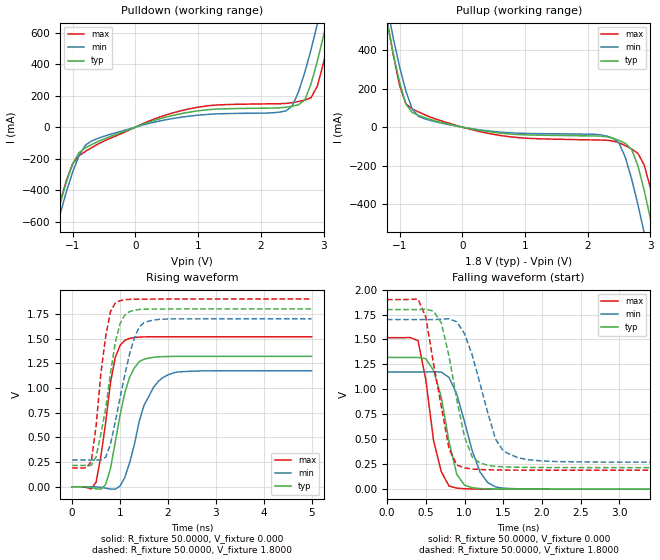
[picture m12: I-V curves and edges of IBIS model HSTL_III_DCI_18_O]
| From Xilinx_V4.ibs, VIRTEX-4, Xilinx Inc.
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|   Model HSTL_III_DCI_18_O
[Model]   HSTL_III_DCI_18_O
Model_type   Output
Polarity   Non-Inverting
Enable   Active-Low
Vmeas =   1.1000V
Cref =  0.000F
Rref =  50.0000
Vref =   1.1000V
C_comp   8.0000pF   8.0000pF   8.0000pF
[Temperature Range]   25.0000   85.0000   0.000
[Voltage Range]   1.8000V   1.7000V   1.9000V
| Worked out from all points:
|   slope of the pulldown table from 0 to 0.27 V, typ, clamps not added: 6.99 ohm
|   slope of the pullup table from 0 to 0.27 V, typ, clamps not added: 16.4 ohm
|   rising waveform, R_fixture 50.0000, V_fixture 0.000: 20-80 % time 336ps typ, 432ps min, 266ps max; typ from 0 V to 1.32 V
|   rising waveform, R_fixture 50.0000, V_fixture 1.8000: 20-80 % time 314ps typ, 386ps min, 238ps max; typ from 0.216 V to 1.8 V
|   falling waveform, R_fixture 50.0000, V_fixture 0.000: 20-80 % time 214ps typ, 265ps min, 189ps max; typ from 1.32 V to 0 V
|   falling waveform, R_fixture 50.0000, V_fixture 1.8000: 20-80 % time 243ps typ, 313ps min, 235ps max; typ from 1.8 V to 0.216 V
[Pulldown]
| voltage   I(typ)   I(min)   I(max)
-1.8V     -1.626A    -1.674A    -1.632A
-1.3V     -642.1mA   -710mA     -637.8mA
-1V       -233.5mA   -284.5mA   -232.1mA
-700mV    -111.1mA   -88.11mA   -130.8mA
800mV     91.06mA    66.89mA    111mA
2.4V      126.8mA    103.1mA    150.6mA
2.5V      133.1mA    134.1mA    155.3mA
2.7V      171.9mA    347.3mA    171.9mA
2.9V      418.2mA    654.1mA    259.6mA
3V        581.2mA    833.6mA    409.5mA
3.1V      758.3mA    1.024A     587mA
3.6V      1.746A     2.026A     1.59A
[Pullup]
| voltage   I(typ)   I(min)   I(max)
-1.8V     1.724A     1.808A     1.78A
-1.2V     548.7mA    630mA      556.7mA
-1.1V     381.6mA    462.4mA    376.2mA
-900mV    120.9mA    188.5mA    121.4mA
-700mV    61.59mA    56.68mA    79.35mA
600mV     -31mA      -25.69mA   -43.04mA
2.4V      -57.52mA   -56.36mA   -72.2mA
2.7V      -115.9mA   -269.5mA   -113.6mA
2.9V      -328.1mA   -549.8mA   -196.5mA
3V        -476.5mA   -711.5mA   -316.9mA
3.2V      -818.8mA   -1.084A    -635.8mA
3.6V      -1.63A     -1.877A    -1.427A
[Ramp]
| variable   typ   min   max
dV/dt_r   0.7920/0.3285n   0.7044/0.4257n   0.9108/0.2325n
dV/dt_f   0.9505/0.2353n   0.8576/0.3197n   1.0258/0.1888n
R_load = 50.0000
[Rising Waveform]
R_fixture = 50.0000
V_fixture = 0.000
| time   V(typ)   V(min)   V(max)
0s        0V         0V         0V
500ps     -20.21mV   -464.3uV   46.32mV
700ps     23.59mV    -14.29mV   649.4mV
800ps     181.7mV    -23.1mV    1.051V
900ps     448.9mV    -24.07mV   1.308V
1.1ns     951mV      95mV       1.482V
1.3ns     1.204V     428.3mV    1.51V
1.5ns     1.292V     822.8mV    1.517V
1.9ns     1.317V     1.107V     1.518V
5ns       1.32V      1.174V     1.518V
[Rising Waveform]
R_fixture = 50.0000
V_fixture = 1.8000
V_fixture_min = 1.7000
V_fixture_max = 1.9000
| time   V(typ)   V(min)   V(max)
0s        215.9mV    270.7mV    190.3mV
400ps     216.4mV    270.7mV    258mV
500ps     303mV      270.5mV    612.8mV
700ps     789.7mV    299.1mV    1.52V
800ps     1.147V     429mV      1.772V
900ps     1.458V     655.3mV    1.858V
1ns       1.649V     898.5mV    1.884V
1.2ns     1.774V     1.346V     1.897V
1.5ns     1.797V     1.661V     1.899V
5ns       1.8V       1.7V       1.9V
[Falling Waveform]
R_fixture = 50.0000
V_fixture = 0.000
| time   V(typ)   V(min)   V(max)
0s        1.32V      1.174V     1.518V
400ps     1.32V      1.174V     1.489V
500ps     1.308V     1.174V     1.098V
600ps     1.192V     1.176V     490.8mV
800ps     476.4mV    1.12V      31.5mV
900ps     148.7mV    953.6mV    10.8mV
1ns       40.21mV    676.4mV    4.364mV
1.2ns     5.978mV    172.5mV    1.053mV
1.4ns     1.353mV    22.35mV    353.7uV
5ns       -1.825uV   0V         5.661uV
[Falling Waveform]
R_fixture = 50.0000
V_fixture = 1.8000
V_fixture_min = 1.7000
V_fixture_max = 1.9000
| time   V(typ)   V(min)   V(max)
0s        1.8V       1.7V       1.9V
400ps     1.799V     1.7V       1.905V
500ps     1.804V     1.699V     1.725V
700ps     1.668V     1.704V     832.9mV
800ps     1.333V     1.708V     406.7mV
900ps     900.1mV    1.677V     242.4mV
1.1ns     322.1mV    1.343V     202.1mV
1.4ns     228.6mV    503.2mV    192.4mV
1.6ns     221.6mV    343.4mV    191.2mV
5ns       215.9mV    270.7mV    190.3mV
